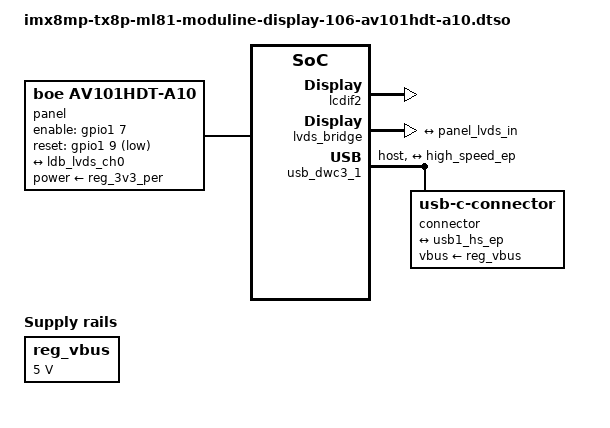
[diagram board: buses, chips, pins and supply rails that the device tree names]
// SPDX-License-Identifier: (GPL-2.0 OR MIT)
/*
 * Copyright 2025 GOcontroll B.V.
 * Author: Maud Spierings <maudspierings@gocontroll.com>
 */

#include <dt-bindings/clock/imx8mp-clock.h>
#include <dt-bindings/gpio/gpio.h>

#include "imx8mp-pinfunc.h"

/dts-v1/;
/plugin/;

&{/} {
	model = "GOcontroll Moduline Display with BOE av101hdt-a10 display";

	panel {
		compatible = "boe,av101hdt-a10";
		enable-gpios = <&gpio1 7 GPIO_ACTIVE_HIGH>;
		pinctrl-0 = <&pinctrl_panel>;
		pinctrl-names = "default";
		power-supply = <&reg_3v3_per>;
		reset-gpios = <&gpio1 9 GPIO_ACTIVE_LOW>;

		port {
			panel_lvds_in: endpoint {
				remote-endpoint = <&ldb_lvds_ch0>;
			};
		};
	};

	reg_vbus: regulator-vbus {
		compatible = "regulator-fixed";
		power-supply = <&reg_6v4>;
		regulator-always-on;
		regulator-max-microvolt = <5000000>;
		regulator-min-microvolt = <5000000>;
		regulator-name = "usb-c-vbus";
	};
};

&iomuxc {
	pinctrl_panel: panelgrp {
		fsl,pins = <
			MX8MP_IOMUXC_GPIO1_IO07__GPIO1_IO07
				MX8MP_DSE_X1
			MX8MP_IOMUXC_GPIO1_IO09__GPIO1_IO09
				MX8MP_DSE_X1
		>;
	};
};

&lcdif2 {
	status = "okay";
};

&lvds_bridge {
	assigned-clocks = <&clk IMX8MP_CLK_MEDIA_LDB>, <&clk IMX8MP_VIDEO_PLL1>;
	/* IMX8MP_VIDEO_PLL1 = IMX8MP_CLK_MEDIA_DISP2_PIX * 2 * 7 */
	assigned-clock-rates = <0>, <1054620000>;
	status = "okay";

	ports {
		port@1 {
			ldb_lvds_ch0: endpoint {
				remote-endpoint = <&panel_lvds_in>;
			};
		};
	};
};

&usb_dwc3_1 {
	dr_mode = "host";

	connector {
		compatible = "usb-c-connector";
		data-role = "host";
		pd-disable;
		vbus-supply = <&reg_vbus>;

		port {
			high_speed_ep: endpoint {
				remote-endpoint = <&usb1_hs_ep>;
			};
		};
	};

	port {
		usb1_hs_ep: endpoint {
			remote-endpoint = <&high_speed_ep>;
		};
	};
};
